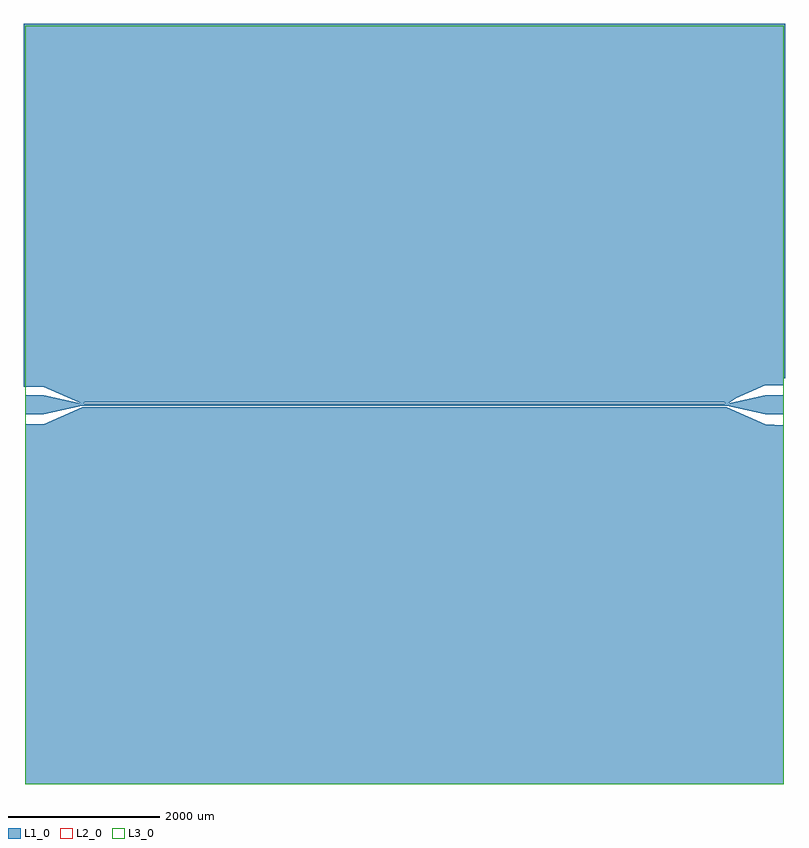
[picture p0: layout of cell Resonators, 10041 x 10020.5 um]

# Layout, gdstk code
import gdstk
lib = gdstk.Library(unit=1e-6, precision=1e-06)
def R(c, l, rs):  # rectangles x0, y0, x1, y1
    for r in rs: c.add(gdstk.rectangle(r[:2], r[2:], *l))
def P(c, l, *ps):  # polygons
    for p in ps: c.add(gdstk.Polygon(p, *l))
L1_0 = (1, 0)
L2_0 = (2, 0)
L3_0 = (3, 0)

resonators = lib.new_cell('Resonators')
P(resonators, L1_0, [(-5000,-127),(-5000,127),(-4756,127),(-4246,15),(4246,15),(4756,127),(5000,127),(5000,-127),(4756,-127),(4246,-15),(-4246,-15),(-4756,-127)],
  [(-5000,-5000),(-5000,-257),(-4756,-257),(-4246,-32),(4246,-32),(4756,-257),(5000,-267),(5000,-5000)],
  [(-4246,32),(-4756,257),(-5000,257),(-5000,5000),(5000,5000),(5000,257),(4756,257),(4246,32)])
R(resonators, L2_0, [(-5000,-5000,5000,5000)])
R(resonators, L3_0, [(-5000,-5000,5000,5000)])
P(resonators, L3_0, [(1500,2370),(1500,2370),(1500,2370),(1500,2370)])
resonators.add(gdstk.FlexPath([(-2450,-58),(-3000,-58),(-3000,-2058),(-2700,-2058),(-2700,-558),(-2400,-558),(-2400,-2069)], 20, ends="extended", simple_path=True, layer=1, datatype=0))  # L1_0
resonators.add(gdstk.FlexPath([(-1550,58),(-1000,58),(-1000,2058),(-1300,2058),(-1300,620),(-1600,620),(-1600,2069)], 20, ends="extended", simple_path=True, layer=1, datatype=0))  # L1_0
resonators.add(gdstk.FlexPath([(-2450,-58),(-3000,-58),(-3000,-2058),(-2700,-2058),(-2700,-558),(-2400,-558),(-2400,-2058)], 42, ends="extended", simple_path=True, layer=1, datatype=0))  # L1_0
resonators.add(gdstk.FlexPath([(1550,-58),(1000,-58),(1000,-2058),(1300,-2058),(1300,-683),(1600,-683),(1600,-2069)], 20, ends="extended", simple_path=True, layer=1, datatype=0))  # L1_0
resonators.add(gdstk.FlexPath([(1550,-58),(1000,-58),(1000,-2058),(1300,-2058),(1300,-683),(1600,-683),(1600,-2069)], 42, ends="extended", simple_path=True, layer=1, datatype=0))  # L1_0
resonators.add(gdstk.FlexPath([(2450,58),(3000,58),(3000,2058),(2700,2058),(2700,745),(2400,745),(2400,2058)], 20, ends="extended", simple_path=True, layer=1, datatype=0))  # L1_0
resonators.add(gdstk.FlexPath([(-1550,58),(-1000,58),(-1000,2058),(-1300,2058),(-1300,620),(-1600,620),(-1600,2069)], 42, ends="extended", simple_path=True, layer=1, datatype=0))  # L1_0
resonators.add(gdstk.FlexPath([(-4246,32),(-4756,257),(-5000,257),(-5000,5000),(5000,5000),(5000,371),(4756,371),(4246,32)], 41, ends="extended", simple_path=True, layer=1, datatype=0))  # L1_0
resonators.add(gdstk.FlexPath([(2450,58),(3000,58),(3000,2058),(2700,2058),(2700,745),(2400,745),(2400,2058)], 42, ends="extended", simple_path=True, layer=1, datatype=0))  # L1_0

lib.write_gds('Resonators.gds')
